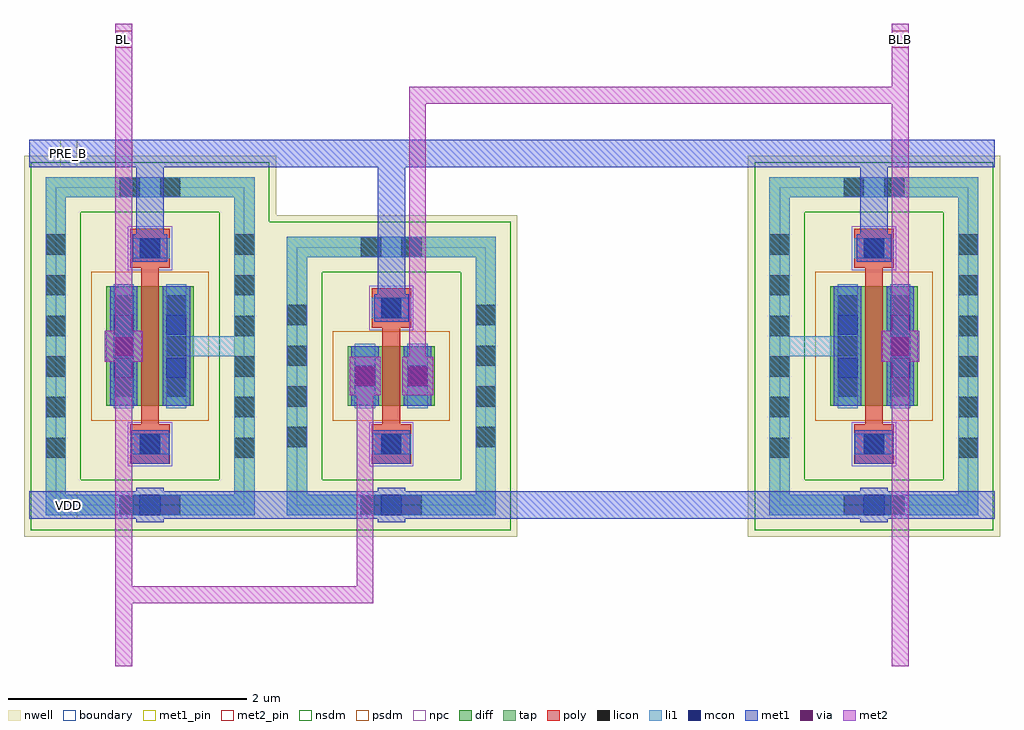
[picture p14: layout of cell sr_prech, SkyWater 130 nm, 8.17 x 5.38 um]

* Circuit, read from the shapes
.subckt sr_prech BL BLB PRE_B VDD
XM1 VDD PRE_B BL VDD sky130_fd_pr__pfet_01v8 w=1 l=0.15
XM2 BLB PRE_B BL VDD sky130_fd_pr__pfet_01v8 w=0.5 l=0.15
XM3 BLB PRE_B VDD VDD sky130_fd_pr__pfet_01v8 w=1 l=0.15
.ends

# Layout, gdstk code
from math import pi, radians
import gdstk
lib = gdstk.Library(unit=1e-6, precision=1e-09)
def R(c, l, rs):  # rectangles x0, y0, x1, y1
    for r in rs: c.add(gdstk.rectangle(r[:2], r[2:], *l))
def A(c, l, x, y, w, h, nx, ny, dx, dy):  # array of equal rectangles
    R(c, l, [(x+i*dx, y+j*dy, x+i*dx+w, y+j*dy+h) for i in range(nx) for j in range(ny)])
nwell = (64, 20)
diff = (65, 20)
tap = (65, 44)
poly = (66, 20)
licon = (66, 44)
li1 = (67, 20)
mcon = (67, 44)
met1_pin = (68, 16)
met1 = (68, 20)
via = (68, 44)
met2_pin = (69, 16)
met2 = (69, 20)
nsdm = (93, 44)
psdm = (94, 20)
npc = (95, 20)
boundary = (235, 4)

sky130_fd_pr__pfet_01v8_ = lib.new_cell('sky130_fd_pr__pfet_01v8_2H7JD5')
R(sky130_fd_pr__pfet_01v8_, nwell, [(-1.055,-1.345,1.055,1.345)])
R(sky130_fd_pr__pfet_01v8_, diff, [(-0.365,-0.25,0.365,0.25)])
R(sky130_fd_pr__pfet_01v8_, tap, [(-0.875,-1.165,0.875,-0.995), (-0.875,-0.995,-0.705,0.995), (0.705,-0.995,0.875,0.995), (-0.875,0.995,0.875,1.165)])
R(sky130_fd_pr__pfet_01v8_, poly, [(-0.165,-0.735,0.165,-0.405), (-0.075,-0.405,0.075,0.405), (-0.165,0.405,0.165,0.735)])
A(sky130_fd_pr__pfet_01v8_, licon, -0.875, -0.595, 0.17, 0.17, 1, 4, 0, 0.34)
A(sky130_fd_pr__pfet_01v8_, licon, 0.705, -0.595, 0.17, 0.17, 1, 4, 0, 0.34)
R(sky130_fd_pr__pfet_01v8_, licon, [(-0.255,-1.165,-0.085,-0.995), (0.085,-1.165,0.255,-0.995), (-0.085,-0.655,0.085,-0.485), (-0.305,-0.085,-0.135,0.085), (0.135,-0.085,0.305,0.085), (-0.085,0.485,0.085,0.655), (-0.255,0.995,-0.085,1.165), (0.085,0.995,0.255,1.165)])
R(sky130_fd_pr__pfet_01v8_, li1, [(-0.875,-1.165,0.875,-0.995), (-0.875,-0.995,-0.705,0.995), (0.705,-0.995,0.875,0.995), (-0.165,-0.655,0.165,-0.485), (-0.305,-0.27,-0.135,0.27), (0.135,-0.27,0.305,0.27), (-0.165,0.485,0.165,0.655), (-0.875,0.995,0.875,1.165)])
R(sky130_fd_pr__pfet_01v8_, mcon, [(-0.085,-0.655,0.085,-0.485), (-0.305,-0.085,-0.135,0.085), (0.135,-0.085,0.305,0.085), (-0.085,0.485,0.085,0.655)])
R(sky130_fd_pr__pfet_01v8_, met1, [(-0.145,-0.685,0.145,-0.455), (-0.335,-0.25,-0.105,0.25), (0.105,-0.25,0.335,0.25), (-0.145,0.455,0.145,0.685)])
R(sky130_fd_pr__pfet_01v8_, nsdm, [(-1,-1.29,1,-0.87), (-1,-0.87,-0.58,0.87), (0.58,-0.87,1,0.87), (-1,0.87,1,1.29)])
R(sky130_fd_pr__pfet_01v8_, psdm, [(-0.49,-0.375,0.49,0.375)])
R(sky130_fd_pr__pfet_01v8_, npc, [(-0.185,-0.755,0.185,-0.385), (-0.185,0.385,0.185,0.755)])
R(sky130_fd_pr__pfet_01v8_, boundary, [(-0.79,-1.08,0.79,1.08)])
sky130_fd_pr__pfet_01v8_.add(gdstk.Label('B', (0,-1.08), layer=67, texttype=5))
sky130_fd_pr__pfet_01v8_.add(gdstk.Label('D', (-0.22,0), layer=67, texttype=5))
sky130_fd_pr__pfet_01v8_.add(gdstk.Label('S', (0.22,0), layer=67, texttype=5))
sky130_fd_pr__pfet_01v8_.add(gdstk.Label('G', (0,0.57), layer=67, texttype=5))

c_sky130_fd_pr__pfet_01v8_ = lib.new_cell('sky130_fd_pr__pfet_01v8_7HN6Y2')
R(c_sky130_fd_pr__pfet_01v8_, nwell, [(-1.055,-1.595,1.055,1.595)])
R(c_sky130_fd_pr__pfet_01v8_, diff, [(-0.365,-0.5,0.365,0.5)])
R(c_sky130_fd_pr__pfet_01v8_, tap, [(-0.875,-1.415,0.875,-1.245), (-0.875,-1.245,-0.705,1.245), (0.705,-1.245,0.875,1.245), (-0.875,1.245,0.875,1.415)])
R(c_sky130_fd_pr__pfet_01v8_, poly, [(-0.165,-0.985,0.165,-0.655), (-0.075,-0.655,0.075,0.655), (-0.165,0.655,0.165,0.985)])
A(c_sky130_fd_pr__pfet_01v8_, licon, -0.875, -0.935, 0.17, 0.17, 1, 6, 0, 0.34)
A(c_sky130_fd_pr__pfet_01v8_, licon, 0.705, -0.935, 0.17, 0.17, 1, 6, 0, 0.34)
A(c_sky130_fd_pr__pfet_01v8_, licon, -0.305, -0.425, 0.17, 0.17, 1, 3, 0, 0.34)
A(c_sky130_fd_pr__pfet_01v8_, licon, 0.135, -0.425, 0.17, 0.17, 1, 3, 0, 0.34)
R(c_sky130_fd_pr__pfet_01v8_, licon, [(-0.255,-1.415,-0.085,-1.245), (0.085,-1.415,0.255,-1.245), (-0.085,-0.905,0.085,-0.735), (-0.085,0.735,0.085,0.905), (-0.255,1.245,-0.085,1.415), (0.085,1.245,0.255,1.415)])
R(c_sky130_fd_pr__pfet_01v8_, li1, [(-0.875,-1.415,0.875,-1.245), (-0.875,-1.245,-0.705,1.245), (0.705,-1.245,0.875,1.245), (-0.165,-0.905,0.165,-0.735), (-0.305,-0.52,-0.135,0.52), (0.135,-0.52,0.305,0.52), (-0.165,0.735,0.165,0.905), (-0.875,1.245,0.875,1.415)])
R(c_sky130_fd_pr__pfet_01v8_, mcon, [(-0.085,-0.905,0.085,-0.735), (-0.305,-0.265,-0.135,-0.095), (0.135,-0.265,0.305,-0.095), (-0.305,0.095,-0.135,0.265), (0.135,0.095,0.305,0.265), (-0.085,0.735,0.085,0.905)])
R(c_sky130_fd_pr__pfet_01v8_, met1, [(-0.145,-0.935,0.145,-0.705), (-0.335,-0.5,-0.105,0.5), (0.105,-0.5,0.335,0.5), (-0.145,0.705,0.145,0.935)])
R(c_sky130_fd_pr__pfet_01v8_, nsdm, [(-1,-1.54,1,-1.12), (-1,-1.12,-0.58,1.12), (0.58,-1.12,1,1.12), (-1,1.12,1,1.54)])
R(c_sky130_fd_pr__pfet_01v8_, psdm, [(-0.49,-0.625,0.49,0.625)])
R(c_sky130_fd_pr__pfet_01v8_, npc, [(-0.185,-1.005,0.185,-0.635), (-0.185,0.635,0.185,1.005)])
R(c_sky130_fd_pr__pfet_01v8_, boundary, [(-0.79,-1.33,0.79,1.33)])
c_sky130_fd_pr__pfet_01v8_.add(gdstk.Label('B', (0,-1.33), layer=67, texttype=5))
c_sky130_fd_pr__pfet_01v8_.add(gdstk.Label('D', (-0.22,0), layer=67, texttype=5))
c_sky130_fd_pr__pfet_01v8_.add(gdstk.Label('S', (0.22,0), layer=67, texttype=5))
c_sky130_fd_pr__pfet_01v8_.add(gdstk.Label('G', (0,0.82), layer=67, texttype=5))

sr_prech = lib.new_cell('sr_prech')
R(sr_prech, li1, [(-0.085,-1.415,0.085,-1.245), (1.935,-1.415,2.105,-1.245), (5.975,-1.415,6.145,-1.245), (0.22,-0.085,0.75,0.085), (5.31,-0.085,5.84,0.085)])
R(sr_prech, mcon, [(-0.085,-1.415,0.085,-1.245), (1.935,-1.415,2.105,-1.245), (5.975,-1.415,6.145,-1.245)])
R(sr_prech, met1_pin, [(-0.75,-1.445,-0.61,-1.215), (-0.75,1.5,-0.61,1.73)])
R(sr_prech, met1, [(-0.115,-1.475,0.115,-1.445), (1.905,-1.475,2.135,-1.445), (5.945,-1.475,6.175,-1.445), (-1.01,-1.445,7.07,-1.215), (-0.115,-1.215,0.115,-1.185), (1.905,-1.215,2.135,-1.185), (5.945,-1.215,6.175,-1.185), (-0.16,-0.985,0.16,-0.705), (1.86,-0.985,2.18,-0.705), (5.9,-0.985,6.22,-0.705), (1.67,-0.41,1.93,-0.09), (2.11,-0.41,2.37,-0.09), (-0.38,-0.13,-0.06,0.13), (6.12,-0.13,6.44,0.13), (1.905,0.205,2.135,1.5), (-0.115,0.705,0.115,1.5), (5.945,0.705,6.175,1.5), (-1.01,1.5,7.07,1.73)])
R(sr_prech, via, [(1.725,-0.325,1.875,-0.175), (2.165,-0.325,2.315,-0.175), (-0.295,-0.075,-0.145,0.075), (6.205,-0.075,6.355,0.075)])
R(sr_prech, met2_pin, [(-0.29,2.5,-0.15,2.64), (6.21,2.5,6.35,2.64)])
R(sr_prech, met2, [(-0.29,-2.68,-0.15,-2.15), (6.21,-2.68,6.35,-0.13), (-0.29,-2.15,1.87,-2.01), (-0.29,-2.01,-0.15,-0.13), (1.73,-2.01,1.87,-0.41), (1.67,-0.41,1.93,-0.09), (2.11,-0.41,2.37,-0.09), (-0.38,-0.13,-0.06,0.13), (6.12,-0.13,6.44,0.13), (2.17,-0.09,2.31,2.03), (-0.29,0.13,-0.15,2.7), (6.21,0.13,6.35,2.03), (2.17,2.03,6.35,2.17), (6.21,2.17,6.35,2.7)])
R(sr_prech, nsdm, [(1,-1.54,1.02,1.04)])
sr_prech.add(gdstk.Reference(sky130_fd_pr__pfet_01v8_, (2.02,-0.25)))
sr_prech.add(gdstk.Reference(c_sky130_fd_pr__pfet_01v8_, (6.06,0), rotation=pi, x_reflection=True))
sr_prech.add(gdstk.Reference(c_sky130_fd_pr__pfet_01v8_, (0,0)))
sr_prech.add(gdstk.Label('BL', (-0.22,2.57), layer=69, texttype=5))
sr_prech.add(gdstk.Label('BLB', (6.28,2.57), layer=69, texttype=5))
sr_prech.add(gdstk.Label('PRE_B', (-0.68,1.615), layer=68, texttype=5))
sr_prech.add(gdstk.Label('VDD', (-0.68,-1.33), layer=68, texttype=5))

lib.write_gds('sr_prech.gds')
